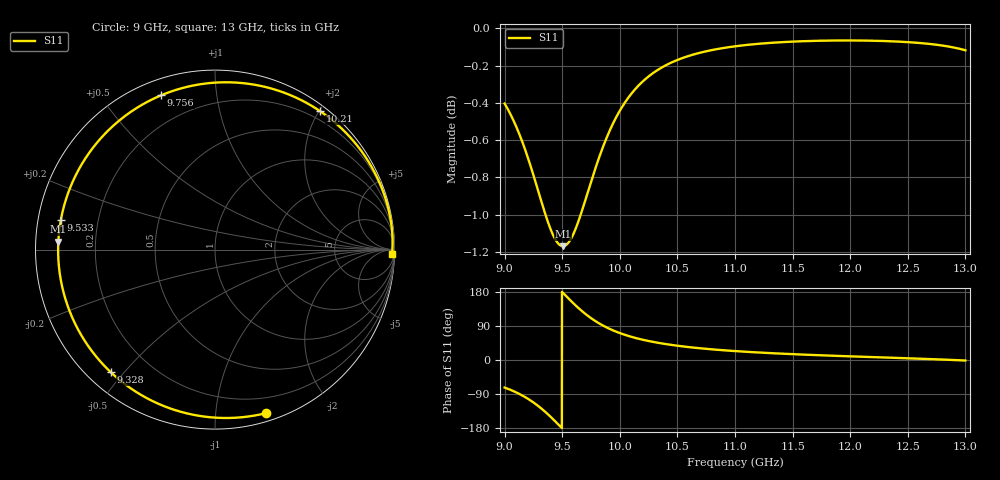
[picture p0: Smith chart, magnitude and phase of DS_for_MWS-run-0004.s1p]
! TOUCHSTONE file generated by CST DESIGN STUDIO
! Date and time: Tue Feb  4 18:11:11 2025
! Project name: C:\Work\MatlabApps\UnitCellOptimizationMatlab\CST\unitcell.cst
! Tree item: Tasks\Sweep1\SPara1\S-Parameters
! Header version: 2024
! Port assignment regex: !\s*Touchstone port\s*([0-9]+)\s*=\s*(CST MWS port|CST DES external port|CST DES block port)\s*(.+)\s* \(\"(.*)\"\)(\s*mode\s*([0-9]+))?.*
! Touchstone port assignment:
! Touchstone port 1 = CST DES external port 1 ("")
# GHz S MA R 50
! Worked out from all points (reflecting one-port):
!   4001 points, 9 GHz to 13 GHz, reference 50 ohm
!   lowest |S11| = -1.2 dB at 9.507 GHz (marker M1), VSWR 14.87, Z = 3.36 + j1.24 ohm
!   phase of S11 starts at -73 deg and turns -289 deg over the sweep
!   S11 on the Smith chart (normalised r, x): 9 GHz: 0.07, -1.36; 9.328 GHz: 0.07, -0.46; 9.533 GHz: 0.07, +0.10; 9.756 GHz: 0.07, +0.71; 10.21 GHz: 0.08, +2.02; 13 GHz: 35, -63
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9  0.9546 -72.7
9.087  0.9431 -83.5
9.189  0.9257 -99.9
9.261  0.911 -114.3
9.328  0.8966 -130.3
9.374  0.8875 -142.7
9.422  0.8799 -156.6
9.462  0.8757 -168.8
9.5  0.874 179.3
9.507  0.874 177.1
9.533  0.8746 169.0
9.586  0.8791 152.9
9.648  0.8889 135.2
9.701  0.8993 121.7
9.756  0.9106 109.2
9.806  0.9205 99.3
9.861  0.9305 89.8
10  0.9503 71.1
10.099  0.9603 61.3
10.21  0.9684 52.7
10.344  0.9752 44.7
10.5  0.9806 37.6
10.722  0.9855 30.2
11  0.9889 23.5
11.5  0.9918 15.4
12  0.9925 9.6
12.5  0.9915 4.5
13  0.9865 -1.4
